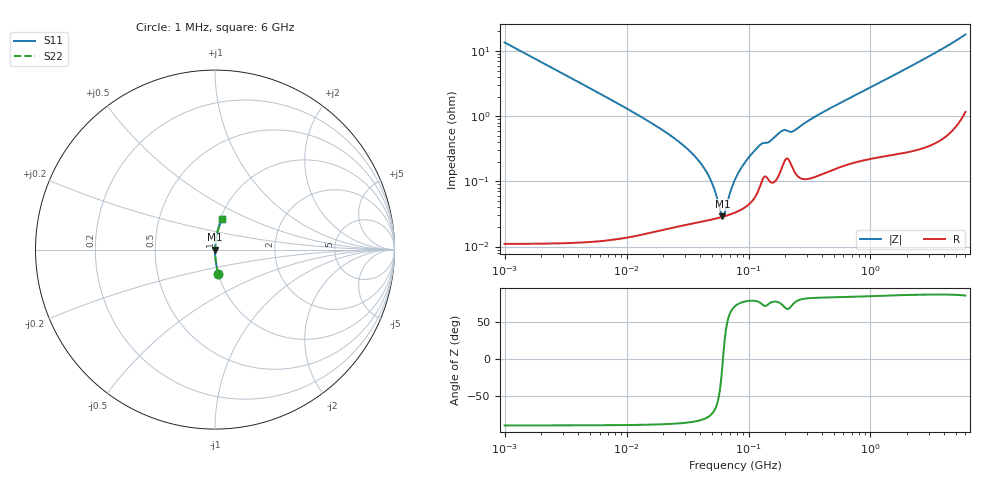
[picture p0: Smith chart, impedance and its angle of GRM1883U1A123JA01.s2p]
!Murata Part Number: GRM1883U1A123JA01
!These Parameters are Measured in Series Mode Connection
!Data Generated on Mar 30, 2021
!  o--ll--o
!Port1  Port2
!  o------o
!Operation Temp=25[degC], DC Bias Voltage=0[V]
!Freq. Start=1000[kHz] Stop=6[GHz] 401[Steps]
# Hz S RI R 50
!Freq.(Hz) S11(Real) S11(Imag) S21(Real) S21(Imag) S12(Real) S12(Imag) S22(Real) S22(Imag)
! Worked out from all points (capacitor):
!   401 points, 1 MHz to 6 GHz, reference 50 ohm
!   read as one part in series: C = 11.7 nF near 1.044 MHz
!   lowest |Z| = 29 mohm at 60.98 MHz (marker M1)
!   series resonance near 61.68 MHz, so ESL is about 570 pH
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1000000  0.0182 -0.1332  0.9818 0.1332  0.9818 0.1332  0.0182 -0.1332
4293785  0.0011 -0.0314  0.9989 0.0314  0.9989 0.0314  0.0011 -0.0314
1.843659e7  0.000218 -0.00665  0.9998 0.00665  0.9998 0.00665  0.000218 -0.00665
2.974945e7  0.000224 -0.00346  0.9998 0.00346  0.9998 0.00346  0.000224 -0.00346
4.12249e7  0.000244 -0.0018  0.9998 0.0018  0.9998 0.0018  0.000244 -0.0018
4.596069e7  0.000253 -0.0013  0.9997 0.0013  0.9997 0.0013  0.000253 -0.0013
5.013812e7  0.000261 -0.00091  0.9997 0.00091  0.9997 0.00091  0.000261 -0.00091
5.351853e7  0.000268 -0.000621  0.9997 0.000621  0.9997 0.000621  0.000268 -0.000621
5.838291e7  0.000279 -0.00024  0.9997 0.00024  0.9997 0.00024  0.000279 -0.00024
6.097846e7  0.000286 -4.98e-05  0.9997 4.98e-05  0.9997 4.98e-05  0.000286 -4.98e-05
6.368941e7  0.000292 0.000141  0.9997 -0.000141  0.9997 -0.000141  0.000292 0.000141
7.100585e7  0.000312 0.000621  0.9997 -0.000621  0.9997 -0.000621  0.000312 0.000621
7.745967e7  0.000333 0.00101  0.9997 -0.00101  0.9997 -0.00101  0.000333 0.00101
9.420718e7  0.000406 0.00195  0.9996 -0.00195  0.9996 -0.00195  0.000406 0.00195
1.249896e8  0.000876 0.00354  0.9991 -0.00354  0.9991 -0.00354  0.000876 0.00354
1.487431e8  0.00102 0.00396  0.999 -0.00396  0.999 -0.00396  0.00102 0.00396
1.889453e8  0.00171 0.00574  0.9983 -0.00574  0.9983 -0.00574  0.00171 0.00574
2.348496e8  0.00151 0.00576  0.9985 -0.00576  0.9985 -0.00576  0.00151 0.00576
3.325952e8  0.00121 0.00918  0.9988 -0.00918  0.9988 -0.00918  0.00121 0.00918
1.428092e9  0.004 0.0389  0.996 -0.0389  0.996 -0.0389  0.004 0.0389
3.193267e9  0.0112 0.0868  0.9888 -0.0868  0.9888 -0.0868  0.0112 0.0868
6e9  0.0417 0.1701  0.9583 -0.1701  0.9583 -0.1701  0.0417 0.1701
